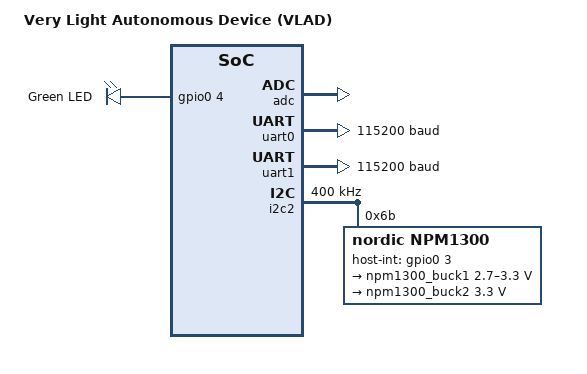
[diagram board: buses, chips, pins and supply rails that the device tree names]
/*
 * Copyright (c) 2024 Samy Francelet
 *
 * SPDX-License-Identifier: Apache-2.0
 */

#include "vlad_common-pinctrl.dtsi"
#include <zephyr/dt-bindings/input/input-event-codes.h>

/ {
	model = "Very Light Autonomous Device (VLAD)";
	compatible = "samyf,vlad";

	chosen {
		zephyr,console = &uart0;
		zephyr,shell-uart = &uart0;
		zephyr,uart-mcumgr = &uart0;
	};

	leds {
		compatible = "gpio-leds";

		led0: led_0 {
			gpios = <&gpio0 4 GPIO_ACTIVE_HIGH>;
			label = "Green LED";
		};
	};

	aliases {
		led0 = &led0;
		bootloader-led0 = &led0;
		mcuboot-led0 = &led0;
		watchdog0 = &wdt0;
	};
};

&adc {
	status = "okay";
};

&gpiote {
	status = "okay";
};

&gpio0 {
	status = "okay";
};

&uart0 {
	status = "okay";

	current-speed = <115200>;
	pinctrl-0 = <&uart0_default>;
	pinctrl-1 = <&uart0_sleep>;
	pinctrl-names = "default", "sleep";
};

&uart1 {
	status = "okay";

	current-speed = <115200>;
	pinctrl-0 = <&uart1_default>;
	pinctrl-1 = <&uart1_sleep>;
	pinctrl-names = "default", "sleep";
};

&i2c2 {
	status = "okay";

	pinctrl-0 = <&i2c2_default>;
	pinctrl-1 = <&i2c2_sleep>;
	pinctrl-names = "default", "sleep";

	clock-frequency = <I2C_BITRATE_FAST>;

	npm1300: pmic@6b {
		compatible = "nordic,npm1300";
		reg = <0x6b>;

		host-int-gpios = <&gpio0 3 GPIO_ACTIVE_HIGH>;
		pmic-int-pin = <1>;

		npm1300_gpio: gpio-controller {
			compatible = "nordic,npm1300-gpio";
			gpio-controller;
			#gpio-cells = <2>;
			ngpios = <5>;
		};

		npm1300_leds: leds {
			compatible = "nordic,npm1300-led";
			nordic,led0-mode = "error";
			nordic,led1-mode = "charging";
			nordic,led2-mode = "host";
		};

		npm1300_regulators: regulators {
			compatible = "nordic,npm1300-regulator";

			npm1300_buck1: BUCK1 {
				regulator-min-microvolt = <2700000>;
				regulator-max-microvolt = <3300000>;
				regulator-always-on;
			};
			
			npm1300_buck2: BUCK2 {
				regulator-min-microvolt = <3300000>;
				regulator-max-microvolt = <3300000>;
			};
		};

		npm1300_charger: charger {
			compatible = "nordic,npm1300-charger";

			term-microvolt = <4150000>;
			term-warm-microvolt = <4000000>;

			current-microamp = <720000>;
			dischg-limit-microamp = <1340000>;

			vbus-limit-microamp = <1000000>;

			thermistor-ohms = <10000>;
			thermistor-beta = <3380>;

			charging-enable;
		};
	};
};

/* Include default memory partition configuration file */
#include <common/nordic/nrf91xx_partition.dtsi>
